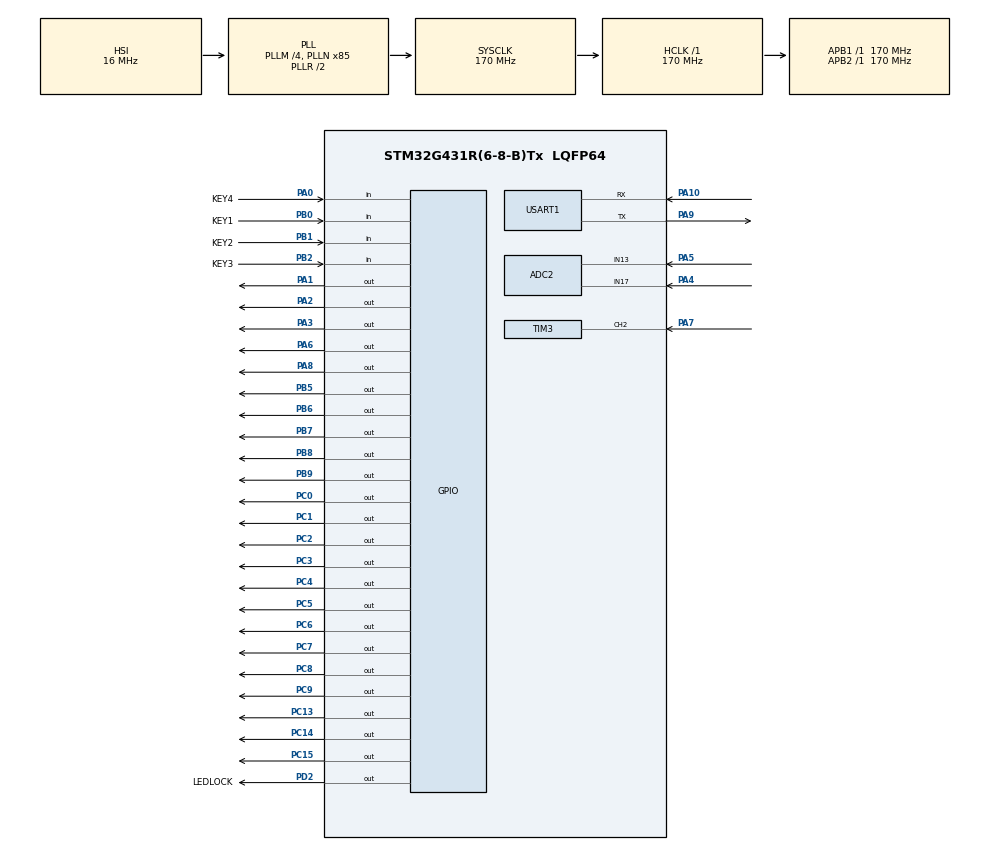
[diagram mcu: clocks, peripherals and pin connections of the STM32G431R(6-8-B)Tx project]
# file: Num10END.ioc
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ADC2.Channel-1\#ChannelRegularConversion=ADC_CHANNEL_13
ADC2.Channel-2\#ChannelRegularConversion=ADC_CHANNEL_17
ADC2.DiscontinuousConvMode=ENABLE
ADC2.NbrOfConversion=2
ADC2.NbrOfConversionFlag=1
ADC2.NbrOfDiscConversion=2
ADC2.OffsetNumber-1\#ChannelRegularConversion=ADC_OFFSET_NONE
ADC2.OffsetNumber-2\#ChannelRegularConversion=ADC_OFFSET_NONE
ADC2.Rank-1\#ChannelRegularConversion=1
ADC2.Rank-2\#ChannelRegularConversion=2
ADC2.SamplingTime-1\#ChannelRegularConversion=ADC_SAMPLETIME_2CYCLES_5
ADC2.SamplingTime-2\#ChannelRegularConversion=ADC_SAMPLETIME_2CYCLES_5
Dma.Request0=USART1_RX
Dma.Request1=USART1_TX
Dma.USART1_RX.0.Direction=DMA_PERIPH_TO_MEMORY
Dma.USART1_RX.0.EventEnable=DISABLE
Dma.USART1_RX.0.Instance=DMA1_Channel1
Dma.USART1_RX.0.MemDataAlignment=DMA_MDATAALIGN_BYTE
Dma.USART1_RX.0.MemInc=DMA_MINC_ENABLE
Dma.USART1_RX.0.Mode=DMA_NORMAL
Dma.USART1_RX.0.PeriphDataAlignment=DMA_PDATAALIGN_BYTE
Dma.USART1_RX.0.PeriphInc=DMA_PINC_DISABLE
Dma.USART1_RX.0.Polarity=HAL_DMAMUX_REQ_GEN_RISING
Dma.USART1_RX.0.Priority=DMA_PRIORITY_LOW
Dma.USART1_RX.0.RequestNumber=1
Dma.USART1_RX.0.SignalID=NONE
Dma.USART1_RX.0.SyncEnable=DISABLE
Dma.USART1_RX.0.SyncPolarity=HAL_DMAMUX_SYNC_NO_EVENT
Dma.USART1_RX.0.SyncRequestNumber=1
Dma.USART1_RX.0.SyncSignalID=NONE
Dma.USART1_TX.1.Direction=DMA_MEMORY_TO_PERIPH
Dma.USART1_TX.1.EventEnable=DISABLE
Dma.USART1_TX.1.Instance=DMA1_Channel2
Dma.USART1_TX.1.MemDataAlignment=DMA_MDATAALIGN_BYTE
Dma.USART1_TX.1.MemInc=DMA_MINC_ENABLE
Dma.USART1_TX.1.Mode=DMA_NORMAL
Dma.USART1_TX.1.PeriphDataAlignment=DMA_PDATAALIGN_BYTE
Dma.USART1_TX.1.PeriphInc=DMA_PINC_DISABLE
Dma.USART1_TX.1.Polarity=HAL_DMAMUX_REQ_GEN_RISING
Dma.USART1_TX.1.Priority=DMA_PRIORITY_LOW
Dma.USART1_TX.1.RequestNumber=1
Dma.USART1_TX.1.SignalID=NONE
Dma.USART1_TX.1.SyncEnable=DISABLE
Dma.USART1_TX.1.SyncPolarity=HAL_DMAMUX_SYNC_NO_EVENT
Dma.USART1_TX.1.SyncRequestNumber=1
Dma.USART1_TX.1.SyncSignalID=NONE
Mcu.Family=STM32G4
Mcu.Name=STM32G431R(6-8-B)Tx
Mcu.Package=LQFP64
NVIC.DMA1_Channel1_IRQn=true\:0\:0\:false\:false\:true\:false\:true
NVIC.DMA1_Channel2_IRQn=true\:0\:0\:false\:false\:true\:false\:true
NVIC.PriorityGroup=NVIC_PRIORITYGROUP_4
NVIC.TIM1_UP_TIM16_IRQn=true\:0\:0\:false\:false\:true\:true\:true
NVIC.TIM3_IRQn=true\:0\:0\:false\:false\:true\:true\:true
NVIC.TIM4_IRQn=true\:0\:0\:false\:false\:true\:true\:true
NVIC.USART1_IRQn=true\:0\:0\:false\:false\:true\:true\:true
PA0.GPIO_Label=KEY4
PA0.Signal=GPIO_Input
PA1.Signal=GPIO_Output
PA10.Mode=Asynchronous
PA10.Signal=USART1_RX
PA2.Signal=GPIO_Output
PA3.Signal=GPIO_Output
PA4.Mode=IN17-Single-Ended
PA4.Signal=ADC2_IN17
PA5.Mode=IN13-Single-Ended
PA5.Signal=ADC2_IN13
PA6.Signal=GPIO_Output
PA7.Signal=S_TIM3_CH2
PA8.Signal=GPIO_Output
PA9.Mode=Asynchronous
PA9.Signal=USART1_TX
PB0.GPIO_Label=KEY1
PB0.Signal=GPIO_Input
PB1.GPIO_Label=KEY2
PB1.Signal=GPIO_Input
PB2.GPIO_Label=KEY3
PB2.Signal=GPIO_Input
PB5.Signal=GPIO_Output
PB6.Signal=GPIO_Output
PB7.Signal=GPIO_Output
PB8-BOOT0.Signal=GPIO_Output
PB9.Signal=GPIO_Output
PC0.Signal=GPIO_Output
PC1.Signal=GPIO_Output
PC13.Signal=GPIO_Output
PC14-OSC32_IN.Signal=GPIO_Output
PC15-OSC32_OUT.Signal=GPIO_Output
PC2.Signal=GPIO_Output
PC3.Signal=GPIO_Output
PC4.Signal=GPIO_Output
PC5.Signal=GPIO_Output
PC6.Signal=GPIO_Output
PC7.Signal=GPIO_Output
PC8.Signal=GPIO_Output
PC9.Signal=GPIO_Output
PD2.GPIO_Label=LEDLOCK
PD2.Signal=GPIO_Output
PF0-OSC_IN.Mode=HSE-External-Oscillator
PF0-OSC_IN.Signal=RCC_OSC_IN
PF1-OSC_OUT.Mode=HSE-External-Oscillator
PF1-OSC_OUT.Signal=RCC_OSC_OUT
ProjectManager.HeapSize=0x200
ProjectManager.StackSize=0x400
ProjectManager.TargetToolchain=MDK-ARM V5
RCC.ADC12Freq_Value=170000000
RCC.AHBFreq_Value=170000000
RCC.APB1Freq_Value=170000000
RCC.APB1TimFreq_Value=170000000
RCC.APB2Freq_Value=170000000
RCC.APB2TimFreq_Value=170000000
RCC.CortexFreq_Value=170000000
RCC.EXTERNAL_CLOCK_VALUE=12288000
RCC.HCLKFreq_Value=170000000
RCC.HSE_VALUE=8000000
RCC.HSI48_VALUE=48000000
RCC.HSI_VALUE=16000000
RCC.LSE_VALUE=32768
RCC.PLLM=RCC_PLLM_DIV4
RCC.PLLN=85
RCC.SYSCLKFreq_VALUE=170000000
RCC.SYSCLKSource=RCC_SYSCLKSOURCE_PLLCLK
RCC.USBFreq_Value=170000000
RCC.VCOOutputFreq_Value=340000000
SH.S_TIM3_CH2.0=TIM3_CH2,Input_Capture2_from_TI2
TIM1.PeriodNoDither=2000
TIM1.Prescaler=17000-1
TIM3.Channel-Input_Capture1_from_TI1_REMAP_TIM3=TIM_CHANNEL_1
TIM3.Channel-Input_Capture2_from_TI2=TIM_CHANNEL_2
TIM3.PeriodNoDither=50000
TIM3.Prescaler=170
TIM4.PeriodNoDither=20000
TIM4.Prescaler=17000
USART1.VirtualMode-Asynchronous=VM_ASYNC
VP_SYS_VS_DBSignals.Mode=DisableDeadBatterySignals
VP_TIM1_VS_ClockSourceINT.Mode=Internal
VP_TIM3_VS_ClockSourceINT.Mode=Internal
VP_TIM3_VS_ClockSourceITR.Mode=TriggerSource_ITR2
VP_TIM3_VS_ControllerModeReset.Mode=Reset Mode
VP_TIM3_VS_NoInput1.Mode=Input_Capture1_from_TI1_REMAP_TIM3
VP_TIM4_VS_ClockSourceINT.Mode=Internal
board=custom

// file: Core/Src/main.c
/* USER CODE BEGIN Header */
/**
  ******************************************************************************
  * @file           : main.c
  * @brief          : Main program body
  ******************************************************************************
  * @attention
  *
  * <h2><center>&copy; Copyright (c) 2021 STMicroelectronics.
  * All rights reserved.</center></h2>
  *
  * This software component is licensed by ST under BSD 3-Clause license,
  * the "License"; You may not use this file except in compliance with the
  * License. You may obtain a copy of the License at:
  *                        opensource.org/licenses/BSD-3-Clause
  *
  ******************************************************************************
  */
/* USER CODE END Header */
#include "main.h"
#include "adc.h"
#include "dma.h"
#include "tim.h"
#include "usart.h"
#include "gpio.h"

/* USER CODE BEGIN Includes */

//第十届蓝桥杯决赛题
//制作人QQ:1317379456

#include <stdio.h>

/* USER CODE END Includes */

/* USER CODE BEGIN PTD */
static uint16_t N_Num = 0; //变化次数
static double IIC_huancun = 0;

static uint8_t Tmm = 30;
static uint8_t Xmm = 1;
static uint8_t Setting = 1; //设置模式
static uint8_t SetOb = 1; //设置的对象
static char LCDTEMP[20] ; //LCD暂存

static uint8_t PWMON =0; //PWM捕捉次数
static double PWMDW1 =0;	//第一次下降沿
static double PWMUP2 =0;	//第二次上升沿
static uint32_t	PWM_YICHU1 =0;	//溢出次数
static uint32_t	PWM_YICHU2 =0;
static uint32_t PWM_Zhankongbi = 0;	//占空比

//static uint8_t time4_PWM = 0;  //PWM测量刷新信号

static uint8_t time4_1S =0;		//1s定时
static uint8_t time4_2S = 0; //2S 数码管刷新定时
static uint8_t seg_num = 0; //数码管显示页面

static char BUFF_SIZE = 50; //接收长度
static uint8_t RXbuf[50];	//接收缓存

static uint16_t UART_RX_STA = 0;     // 第15bit表示一帧数据接收完成，第14~0位表示接收到的数据量
static char UARTTEMP[30];
static uint8_t RX_ST[]="ST\\r\\n";		//串口接受指令
static uint8_t RX_PARA[]="PARA\\r\\n";
static double DS18B20_TEMP = 0;		//温度传感器

static uint8_t tim1_LD8 = 0;		//LD8闪灯标志
static uint8_t led1 = 0 ;			//LD1点亮标志

static double ADC_Value[4]={0};   //ADC电压储存
/* USER CODE END PTD */

void SystemClock_Config(void);
/* USER CODE BEGIN PFP */

static void yemian_JM()
{
	if(HAL_GPIO_ReadPin(KEY1_GPIO_Port,KEY1_Pin)==GPIO_PIN_RESET )
	{

		Setting++;
		HAL_TIM_IC_Stop_IT(&htim3, TIM_CHANNEL_1);
		if (Setting == 3){Setting = 1;HAL_TIM_IC_Start_IT(&htim3, TIM_CHANNEL_1);}
		LCD_Clear(White);
		while(HAL_GPIO_ReadPin(KEY1_GPIO_Port,KEY1_Pin)==GPIO_PIN_RESET);
	}
	if(Setting == 2)
	{
		if(HAL_GPIO_ReadPin(KEY2_GPIO_Port,KEY2_Pin)==GPIO_PIN_RESET  )
		{
			SetOb++;
			HAL_Delay(200);
			if (SetOb == 3){SetOb =1;}
		}
		if(SetOb == 1)
		{
			if(HAL_GPIO_ReadPin(KEY3_GPIO_Port,KEY3_Pin)==GPIO_PIN_RESET )
			{
				Tmm++;
				HAL_Delay(500);
				if(HAL_GPIO_ReadPin(KEY3_GPIO_Port,KEY3_Pin)==GPIO_PIN_RESET)	{Tmm+=9;}
			}
			else if(HAL_GPIO_ReadPin(KEY4_GPIO_Port,KEY4_Pin)==GPIO_PIN_RESET )
			{
				Tmm--;
				HAL_Delay(500);
				if(HAL_GPIO_ReadPin(KEY4_GPIO_Port,KEY4_Pin)==GPIO_PIN_RESET)	{Tmm-=9;}

			}
		}
		else if(SetOb == 2)
		{
			if(HAL_GPIO_ReadPin(KEY3_GPIO_Port,KEY3_Pin)==RESET  )
			{
				Xmm++;
				HAL_Delay(200);
			}
			else if(HAL_GPIO_ReadPin(KEY4_GPIO_Port,KEY4_Pin)==RESET )
			{
				Xmm++;
				HAL_Delay(200);
			}
			if (Xmm > 2){ Xmm = 1;}
			else if (Xmm == 0){ Xmm = 1;}
			if (Tmm >40){ Tmm = 20;}
			else if (Tmm == 0	){ Tmm = 40;}
		}

	}

}

static double ADCRead(ADC_HandleTypeDef *hadcx)
{
	    //开启ADC1
    HAL_ADC_Start(&hadc2);
    //等待ADC转换完成，超时为100ms
    HAL_ADC_PollForConversion(&hadc2,100);
    //判断ADC是否转换成功
    HAL_ADC_GetValue(&hadc2);
	//读取值

}
static double ADCRead_Num(uint8_t num)
{

	ADC_Value[1]= ADCRead(&hadc2);
	HAL_Delay(5);
	ADC_Value[2]= ADCRead(&hadc2);
	return ADC_Value[num];
}
static void LCDLive()
{
	if(Setting == 1)															//主页面
	{
		LCD_DisplayStringLine(Line0,(uint8_t *)"        Main       ");
		sprintf(LCDTEMP,"    AO1:%.2lfV     ",ADCRead_Num(1));
		LCD_DisplayStringLine(Line1,(uint8_t *)LCDTEMP);
		sprintf(LCDTEMP,"    AO2:%.2lfV     ",ADCRead_Num(2));
		LCD_DisplayStringLine(Line3,(uint8_t *)LCDTEMP);

		sprintf(LCDTEMP,"    TEMP:%.2lf C    ",DS18B20_TEMP);
		LCD_DisplayStringLine(Line7,(uint8_t *)LCDTEMP);
		sprintf(LCDTEMP,"    N:%d           ",N_Num);
		LCD_DisplayStringLine(Line9,(uint8_t *)LCDTEMP);
			if (PWMON == 3	 )									//重新计算占空比
			{
					PWMDW1 =1000000/ (PWMDW1+50000*PWM_YICHU1);
					//PWMUP2 =1000000/ (PWMUP2+50000*PWM_YICHU2);
					PWM_Zhankongbi =(100* (PWMDW1 / (PWMDW1+1000000/ (PWMUP2+50000*PWM_YICHU2))))+0.5 ;

					sprintf(LCDTEMP,"    PWM2:%d%%    ",PWM_Zhankongbi);
					LCD_DisplayStringLine(Line5,(uint8_t *)LCDTEMP);

					PWMON = 0;
					PWM_YICHU1 = 0;
					PWM_YICHU2 = 0;
			}
	}

	else if(Setting == 2)														//设置模式
	{

		if(SetOb == 1)
		{
			LCD_DisplayStringLine(Line0,(uint8_t *)"       Para      ");
			sprintf(LCDTEMP,"    T: %d    ",Tmm);
			LCD_SetTextColor(Red);
			LCD_DisplayStringLine(Line2,(uint8_t *)LCDTEMP);
			LCD_SetTextColor(Blue);
			sprintf(LCDTEMP,"    X: AO%d    ",Xmm);
			LCD_DisplayStringLine(Line5,(uint8_t *)LCDTEMP);
		}
		else if(SetOb == 2)
		{
			LCD_DisplayStringLine(Line0,(uint8_t *)"       Para      ");
			sprintf(LCDTEMP,"    T: %d    ",Tmm);
			LCD_DisplayStringLine(Line2,(uint8_t *)LCDTEMP);
			sprintf(LCDTEMP,"    X: AO%d    ",Xmm);
			LCD_SetTextColor(Red);
			LCD_DisplayStringLine(Line5,(uint8_t *)LCDTEMP);
			LCD_SetTextColor(Blue);
		}
	}
}
static void LEDClear()
{

	HAL_GPIO_WritePin(LEDLOCK_GPIO_Port, LEDLOCK_Pin,GPIO_PIN_SET);	//锁存器开
  	HAL_GPIO_WritePin(GPIOC, GPIO_PIN_12|GPIO_PIN_13|GPIO_PIN_11|GPIO_PIN_14|GPIO_PIN_10|GPIO_PIN_15|GPIO_PIN_9|GPIO_PIN_8,GPIO_PIN_SET); //LED全部熄灭
	HAL_GPIO_WritePin(LEDLOCK_GPIO_Port, LEDLOCK_Pin,GPIO_PIN_RESET);//锁存器关

}

static void UART_TempSend()
{
	double linshi =0;

	linshi = PWM_Zhankongbi*3.3;
	if(ADCRead_Num(1)>linshi || ADCRead_Num(2)> linshi)
	{
		if(led1!=2 ){led1 =1;}

		if(time4_1S > 4)
		{
			time4_1S = 0;
			memset(UARTTEMP,0,30);
 			sprintf(UARTTEMP,"$%.2f\r\n",DS18B20_TEMP);
 			HAL_UART_Transmit(&huart1,(uint8_t *)UARTTEMP,sizeof(UARTTEMP),100);

		}
	}
	else if(led1!=0	){led1=5;}
}

static void UART_TN()
{
	if( DS18B20_TEMP> Tmm )
	{
		HAL_TIM_Base_Start_IT(&htim1);
	}
	else if	(DS18B20_TEMP < Tmm )
	{
		HAL_TIM_Base_Stop_IT(&htim1);
		if (tim1_LD8 != 0)tim1_LD8 = 3;
	}

}
static void Led_bulle()
{
	if(tim1_LD8 == 1)
	{
		HAL_GPIO_WritePin(LEDLOCK_GPIO_Port, LEDLOCK_Pin,GPIO_PIN_SET);	//锁存器开
		if(led1 ==2 )
		{	HAL_GPIO_WritePin(GPIOC,GPIO_PIN_15|GPIO_PIN_8,GPIO_PIN_RESET);
			HAL_GPIO_WritePin(GPIOC, GPIO_PIN_12|GPIO_PIN_13|GPIO_PIN_11|GPIO_PIN_14|GPIO_PIN_10|GPIO_PIN_9,GPIO_PIN_SET);
		}
		else
		{
			HAL_GPIO_WritePin(GPIOC,GPIO_PIN_15|GPIO_PIN_8,GPIO_PIN_RESET);
			HAL_GPIO_WritePin(GPIOC, GPIO_PIN_12|GPIO_PIN_13|GPIO_PIN_11|GPIO_PIN_14|GPIO_PIN_10|GPIO_PIN_9|GPIO_PIN_8,GPIO_PIN_SET);
		}
		HAL_GPIO_WritePin(LEDLOCK_GPIO_Port, LEDLOCK_Pin,GPIO_PIN_RESET);//锁存器关
		tim1_LD8 = 2;
	}
	else if (tim1_LD8  == 4)
	{
		HAL_GPIO_WritePin(LEDLOCK_GPIO_Port, LEDLOCK_Pin,GPIO_PIN_SET);	//锁存器开
 		if(led1 ==2)
		{
			HAL_GPIO_WritePin(GPIOC,GPIO_PIN_8,GPIO_PIN_RESET);
			HAL_GPIO_WritePin(GPIOC, GPIO_PIN_12|GPIO_PIN_13|GPIO_PIN_11|GPIO_PIN_14|GPIO_PIN_10|GPIO_PIN_15|GPIO_PIN_9,GPIO_PIN_SET);
		}
		else{	HAL_GPIO_WritePin(GPIOC, GPIO_PIN_12|GPIO_PIN_13|GPIO_PIN_11|GPIO_PIN_14|GPIO_PIN_10|GPIO_PIN_15|GPIO_PIN_9|GPIO_PIN_8,GPIO_PIN_SET);	}

		HAL_GPIO_WritePin(LEDLOCK_GPIO_Port, LEDLOCK_Pin,GPIO_PIN_RESET);//锁存器关
		tim1_LD8 = 0;
	}
	else if (tim1_LD8 == 3)
	{
		tim1_LD8 = 0;
		HAL_GPIO_WritePin(LEDLOCK_GPIO_Port, LEDLOCK_Pin,GPIO_PIN_SET);	//锁存器开
 		if(led1 ==2)
		{
			HAL_GPIO_WritePin(GPIOC,GPIO_PIN_8,GPIO_PIN_RESET);
			HAL_GPIO_WritePin(GPIOC, GPIO_PIN_12|GPIO_PIN_13|GPIO_PIN_11|GPIO_PIN_14|GPIO_PIN_10|GPIO_PIN_15|GPIO_PIN_9,GPIO_PIN_SET);
		}
		else{	HAL_GPIO_WritePin(GPIOC, GPIO_PIN_12|GPIO_PIN_13|GPIO_PIN_11|GPIO_PIN_14|GPIO_PIN_10|GPIO_PIN_15|GPIO_PIN_9|GPIO_PIN_8,GPIO_PIN_SET);	}

		HAL_GPIO_WritePin(LEDLOCK_GPIO_Port, LEDLOCK_Pin,GPIO_PIN_RESET);//锁存器关
	}
	if(led1 ==1	)
	{
		HAL_GPIO_WritePin(LEDLOCK_GPIO_Port, LEDLOCK_Pin,GPIO_PIN_SET);	//锁存器开
		HAL_GPIO_WritePin(GPIOC,GPIO_PIN_8,GPIO_PIN_RESET);
		HAL_GPIO_WritePin(GPIOC, GPIO_PIN_12|GPIO_PIN_13|GPIO_PIN_11|GPIO_PIN_14|GPIO_PIN_10|GPIO_PIN_15|GPIO_PIN_9,GPIO_PIN_SET);
		HAL_GPIO_WritePin(LEDLOCK_GPIO_Port, LEDLOCK_Pin,GPIO_PIN_RESET);//锁存器关
		led1 = 2;
	}
	else if (led1 == 5)
	{
		led1 = 0;
		HAL_GPIO_WritePin(LEDLOCK_GPIO_Port, LEDLOCK_Pin,GPIO_PIN_SET);	//锁存器开
		HAL_GPIO_WritePin(GPIOC, GPIO_PIN_12|GPIO_PIN_13|GPIO_PIN_11|GPIO_PIN_14|GPIO_PIN_10|GPIO_PIN_15|GPIO_PIN_9|GPIO_PIN_8,GPIO_PIN_SET);
		HAL_GPIO_WritePin(LEDLOCK_GPIO_Port, LEDLOCK_Pin,GPIO_PIN_RESET);//锁存器关
	}
}

uint16_t x24c02_read(uint8_t address)		//I2C读
{
	uint16_t val;

	I2CStart();
	I2CSendByte(0xa0);
	I2CWaitAck();

	I2CSendByte(address);
	I2CWaitAck();

	I2CStart();
	I2CSendByte(0xa1);
	I2CWaitAck();
	val = I2CReceiveByte();
	I2CWaitAck();
	I2CStop();
	return(val);
}

void x24c02_write(uint8_t address,uint16_t info)	//I2C写
{
	I2CStart();
	I2CSendByte(0xa0);
	I2CWaitAck();

	I2CSendByte(address);
	I2CWaitAck();
	I2CSendByte(info);
	I2CWaitAck();

	I2CStop();

}
void USART1_IRQHandler(void)
{
	if(__HAL_UART_GET_FLAG(&huart1,UART_FLAG_IDLE) != RESET)
	{
		__HAL_UART_CLEAR_IDLEFLAG(&huart1);
		HAL_UART_DMAStop(&huart1);
		UART_RX_STA = BUFF_SIZE - __HAL_DMA_GET_COUNTER(huart1.hdmarx);
		RXbuf[UART_RX_STA] = 0;
//		UART_RX_STA |= 0X8000;
//		if(UART_RX_STA & 0X8000)
//		{
			if(strcmp((char *)RXbuf,(char *)RX_ST) == 0)
			{
				memset(UARTTEMP,0,30);
				sprintf(UARTTEMP,"$%.2f\r\n",DS18B20_TEMP);
				HAL_UART_Transmit(&huart1,(uint8_t *)UARTTEMP,sizeof(UARTTEMP),100 );

			}
			else if(strcmp((char *)RXbuf,(char *)RX_PARA) == 0)
			{
				memset(UARTTEMP,0,30);
				sprintf(UARTTEMP,"#%d,AO%d\r\n",Tmm,Xmm);
				HAL_UART_Transmit(&huart1,(uint8_t *)UARTTEMP,sizeof(UARTTEMP),100);

			}
//			UART_RX_STA = 0;  // 清除标记
//		}
	HAL_UART_Receive_DMA(&huart1, RXbuf, BUFF_SIZE );  // 重新启动DMA接收
	}
}

/* USER CODE END PFP */

int main(void)
{

  /* MCU Configuration--------------------------------------------------------*/

  /* Reset of all peripherals, Initializes the Flash interface and the Systick. */
  HAL_Init();

  /* Configure the system clock */
  SystemClock_Config();

  /* Initialize all configured peripherals */
  MX_GPIO_Init();
  MX_DMA_Init();
  MX_ADC2_Init();
  MX_TIM1_Init();
  MX_USART1_UART_Init();
  MX_TIM3_Init();
  MX_TIM4_Init();
  /* USER CODE BEGIN 2 */
	LCD_Init();
  	LCD_Clear(White);
	LCD_SetBackColor(White);
	LCD_SetTextColor(Blue);

	ds18b20_init_x();

	LEDClear();
	__HAL_TIM_CLEAR_IT(&htim1, TIM_IT_UPDATE);
	__HAL_TIM_CLEAR_IT(&htim4, TIM_IT_UPDATE);
	__HAL_TIM_ENABLE_IT(&htim3, TIM_IT_UPDATE);
	HAL_TIM_IC_Start_IT(&htim3, TIM_CHANNEL_2);
	HAL_TIM_IC_Start_IT(&htim3, TIM_CHANNEL_1);

	HAL_TIM_Base_Start_IT(&htim4);

	HAL_UART_Receive_DMA(&huart1,RXbuf,BUFF_SIZE);
	__HAL_UART_CLEAR_IDLEFLAG(&huart1);
	__HAL_UART_ENABLE_IT(&huart1,UART_IT_IDLE);
	N_Num = x24c02_read(0x00);
  /* USER CODE END 2 */

  /* Infinite loop */
  /* USER CODE BEGIN WHILE */
  while (1)
  {

	DS18B20_TEMP = ((int)((ds18b20_read()/16.0)*100)) ;
	DS18B20_TEMP = DS18B20_TEMP/100;
	if(IIC_huancun != DS18B20_TEMP)
	{
		N_Num++;
		IIC_huancun = DS18B20_TEMP;
		x24c02_write(0x00,N_Num);
	}
	yemian_JM();
	LCDLive();
	UART_TempSend();
	UART_TN();
	Led_bulle();

    /* USER CODE END WHILE */

  }
}

void SystemClock_Config(void)
{
  RCC_OscInitTypeDef RCC_OscInitStruct = {0};
  RCC_ClkInitTypeDef RCC_ClkInitStruct = {0};
  RCC_PeriphCLKInitTypeDef PeriphClkInit = {0};

  /** Configure the main internal regulator output voltage
  */
  HAL_PWREx_ControlVoltageScaling(PWR_REGULATOR_VOLTAGE_SCALE1_BOOST);
  /** Initializes the RCC Oscillators according to the specified parameters
  * in the RCC_OscInitTypeDef structure.
  */
  RCC_OscInitStruct.OscillatorType = RCC_OSCILLATORTYPE_HSI;
  RCC_OscInitStruct.HSIState = RCC_HSI_ON;
  RCC_OscInitStruct.HSICalibrationValue = RCC_HSICALIBRATION_DEFAULT;
  RCC_OscInitStruct.PLL.PLLState = RCC_PLL_ON;
  RCC_OscInitStruct.PLL.PLLSource = RCC_PLLSOURCE_HSI;
  RCC_OscInitStruct.PLL.PLLM = RCC_PLLM_DIV4;
  RCC_OscInitStruct.PLL.PLLN = 85;
  RCC_OscInitStruct.PLL.PLLP = RCC_PLLP_DIV2;
  RCC_OscInitStruct.PLL.PLLQ = RCC_PLLQ_DIV2;
  RCC_OscInitStruct.PLL.PLLR = RCC_PLLR_DIV2;
  if (HAL_RCC_OscConfig(&RCC_OscInitStruct) != HAL_OK)
  {
    Error_Handler();
  }
  /** Initializes the CPU, AHB and APB buses clocks
  */
  RCC_ClkInitStruct.ClockType = RCC_CLOCKTYPE_HCLK|RCC_CLOCKTYPE_SYSCLK
                              |RCC_CLOCKTYPE_PCLK1|RCC_CLOCKTYPE_PCLK2;
  RCC_ClkInitStruct.SYSCLKSource = RCC_SYSCLKSOURCE_PLLCLK;
  RCC_ClkInitStruct.AHBCLKDivider = RCC_SYSCLK_DIV1;
  RCC_ClkInitStruct.APB1CLKDivider = RCC_HCLK_DIV1;
  RCC_ClkInitStruct.APB2CLKDivider = RCC_HCLK_DIV1;

  if (HAL_RCC_ClockConfig(&RCC_ClkInitStruct, FLASH_LATENCY_4) != HAL_OK)
  {
    Error_Handler();
  }
  /** Initializes the peripherals clocks
  */
  PeriphClkInit.PeriphClockSelection = RCC_PERIPHCLK_USART1|RCC_PERIPHCLK_ADC12;
  PeriphClkInit.Usart1ClockSelection = RCC_USART1CLKSOURCE_PCLK2;
  PeriphClkInit.Adc12ClockSelection = RCC_ADC12CLKSOURCE_SYSCLK;
  if (HAL_RCCEx_PeriphCLKConfig(&PeriphClkInit) != HAL_OK)
  {
    Error_Handler();
  }
}

/* USER CODE BEGIN 4 */

void HAL_TIM_PeriodElapsedCallback(TIM_HandleTypeDef* htim)
{
	//sprintf(LCDbuf, "   TEXT");		LCD_DisplayStringLine(Line8, (uint8_t *)LCDbuf);
	if(htim->Instance == TIM1)
	{
		if	   (tim1_LD8 == 0)		{	tim1_LD8 = 1;}
		else if(tim1_LD8 == 2)		{	tim1_LD8 = 4;}
	}
	if(htim->Instance == TIM4	&& Setting == 1)
	{
		time4_2S++;
		time4_1S++;
		if(time4_2S == 1 )
		{
			if(seg_num == 0)	{SEG_DisplayValue(10, 0, Xmm); seg_num = 1;	}
			else			    {SEG_DisplayValue(Tmm/10,  Tmm%10, 17); seg_num = 0;	}
			time4_2S = 0;
		}

	}
	if(htim->Instance == TIM3)
	{
		if(PWMON == 1)
		{
			PWM_YICHU1++;

		}
		else if (PWMON == 2)
		{
			PWM_YICHU2++;
		}
	}
}
void HAL_TIM_IC_CaptureCallback(TIM_HandleTypeDef *htim)
{
	if(htim ->Channel == HAL_TIM_ACTIVE_CHANNEL_1)
	{
		if(PWMON == 1 && Setting == 1 )
		{
			PWMDW1 = __HAL_TIM_GetCounter(&htim3);
			__HAL_TIM_SetCounter(&htim3,0);
			PWMON = 2;

		}

	}
	else if(htim ->Channel == HAL_TIM_ACTIVE_CHANNEL_2	)
	{
		if(PWMON == 0)
		{
			__HAL_TIM_SetCounter(&htim3,0);
			PWMON = 1;

		}
		else	if(PWMON == 2)
		{
			PWMUP2 = __HAL_TIM_GetCounter(&htim3);
			__HAL_TIM_SetCounter(&htim3,0);
			PWMON = 3;

		}
	}

}
/* USER CODE END 4 */

void Error_Handler(void)
{
  __disable_irq();
  while (1)
  {
  }
}

/************************ (C) COPYRIGHT STMicroelectronics *****END OF FILE****/
